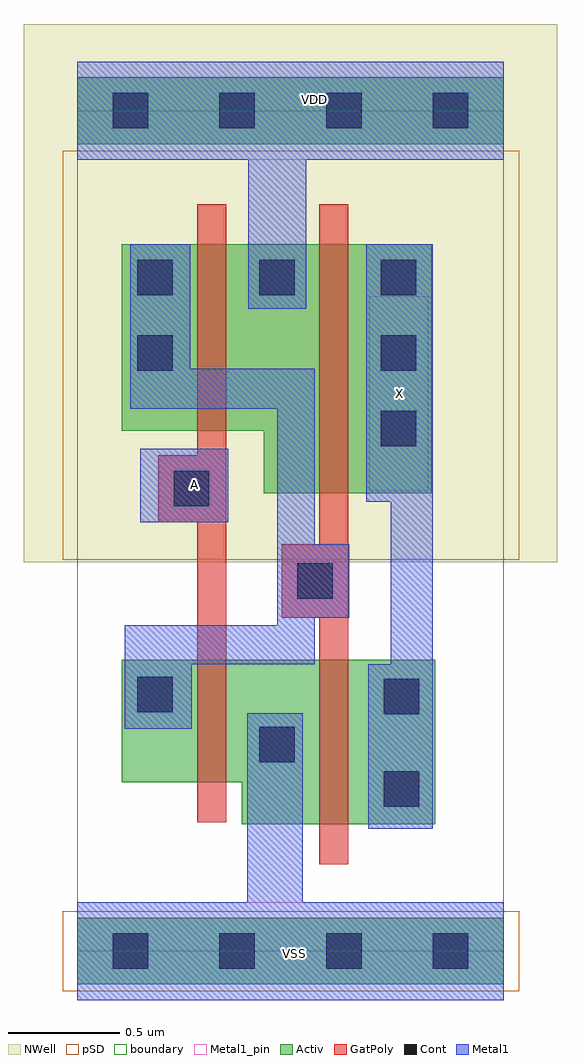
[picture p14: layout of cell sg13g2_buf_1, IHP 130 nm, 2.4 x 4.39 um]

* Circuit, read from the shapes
.subckt sg13g2_buf_1 A VDD VSS X
XM1 VSS A n1 VSS sg13_lv_nmos w=0.55u l=0.13u
XM2 X n1 VSS VSS sg13_lv_nmos w=0.74u l=0.13u
XM3 VDD A n1 VDD sg13_lv_pmos w=0.84u l=0.13u
XM4 X n1 VDD VDD sg13_lv_pmos w=1.12u l=0.13u
.ends

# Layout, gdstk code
import gdstk
lib = gdstk.Library(unit=1e-6, precision=1e-09)
def R(c, l, rs):  # rectangles x0, y0, x1, y1
    for r in rs: c.add(gdstk.rectangle(r[:2], r[2:], *l))
def P(c, l, *ps):  # polygons
    for p in ps: c.add(gdstk.Polygon(p, *l))
Activ = (1, 0)
GatPoly = (5, 0)
Cont = (6, 0)
Metal1 = (8, 0)
Metal1_pin = (8, 2)
pSD = (14, 0)
NWell = (31, 0)
boundary = (189, 4)

sg13g2_buf_1 = lib.new_cell('sg13g2_buf_1')
R(sg13g2_buf_1, Activ, [(0,-0.15,1.92,0.15), (0,-0.15,1.92,0.15), (0,3.63,1.92,3.93), (0,3.63,1.92,3.93)])
P(sg13g2_buf_1, Activ, [(0.74,0.57),(0.74,0.76),(0.2,0.76),(0.2,1.31),(1.61,1.31),(1.61,0.57)],
  [(0.84,2.06),(0.84,2.34),(0.2,2.34),(0.2,3.18),(1.595,3.18),(1.595,2.06)],
  [(0.74,0.57),(0.74,0.76),(0.2,0.76),(0.2,1.31),(1.61,1.31),(1.61,0.57)],
  [(0.84,2.06),(0.84,2.34),(0.2,2.34),(0.2,3.18),(1.595,3.18),(1.595,2.06)])
P(sg13g2_buf_1, GatPoly, [(1.09,0.39),(1.09,1.5),(0.92,1.5),(0.92,1.83),(1.09,1.83),(1.09,3.36),(1.22,3.36),(1.22,0.39)],
  [(0.54,0.58),(0.54,1.93),(0.365,1.93),(0.365,2.23),(0.54,2.23),(0.54,3.36),(0.67,3.36),(0.67,0.58)],
  [(1.09,0.39),(1.09,1.5),(0.92,1.5),(0.92,1.83),(1.09,1.83),(1.09,3.36),(1.22,3.36),(1.22,0.39)],
  [(0.54,0.58),(0.54,1.93),(0.365,1.93),(0.365,2.23),(0.54,2.23),(0.54,3.36),(0.67,3.36),(0.67,0.58)])
R(sg13g2_buf_1, Cont, [(0.16,-0.08,0.32,0.08), (0.16,-0.08,0.32,0.08), (0.64,-0.08,0.8,0.08), (0.64,-0.08,0.8,0.08), (1.12,-0.08,1.28,0.08), (1.12,-0.08,1.28,0.08), (1.6,-0.08,1.76,0.08), (1.6,-0.08,1.76,0.08), (1.38,0.65,1.54,0.81), (1.38,0.65,1.54,0.81), (0.82,0.85,0.98,1.01), (0.82,0.85,0.98,1.01), (1.38,1.065,1.54,1.225), (1.38,1.065,1.54,1.225), (0.27,1.075,0.43,1.235), (0.27,1.075,0.43,1.235), (0.99,1.585,1.15,1.745), (0.99,1.585,1.15,1.745), (0.435,2,0.595,2.16), (0.435,2,0.595,2.16), (1.365,2.27,1.525,2.43), (1.365,2.27,1.525,2.43), (0.27,2.61,0.43,2.77), (0.27,2.61,0.43,2.77), (1.365,2.61,1.525,2.77), (1.365,2.61,1.525,2.77), (0.27,2.95,0.43,3.11), (0.27,2.95,0.43,3.11), (0.82,2.95,0.98,3.11), (0.82,2.95,0.98,3.11), (1.365,2.95,1.525,3.11), (1.365,2.95,1.525,3.11), (0.16,3.7,0.32,3.86), (0.16,3.7,0.32,3.86), (0.64,3.7,0.8,3.86), (0.64,3.7,0.8,3.86), (1.12,3.7,1.28,3.86), (1.12,3.7,1.28,3.86), (1.6,3.7,1.76,3.86), (1.6,3.7,1.76,3.86)])
R(sg13g2_buf_1, Metal1, [(0.285,1.93,0.68,2.26), (0.285,1.93,0.68,2.26)])
P(sg13g2_buf_1, Metal1, [(0.215,1),(0.215,1.465),(0.9,1.465),(0.9,2.44),(0.24,2.44),(0.24,3.18),(0.51,3.18),(0.51,2.62),(1.07,2.62),(1.07,1.83),(1.225,1.83),(1.225,1.5),(1.07,1.5),(1.07,1.29),(0.515,1.29),(0.515,1)],
  [(1.31,0.55),(1.31,1.29),(1.41,1.29),(1.41,2.02),(1.3,2.02),(1.3,3.18),(1.6,3.18),(1.6,0.55)],
  [(0,-0.22),(0,0.22),(0.765,0.22),(0.765,1.07),(1.015,1.07),(1.015,0.22),(1.92,0.22),(1.92,-0.22)],
  [(0.77,2.89),(0.77,3.56),(0,3.56),(0,4),(1.92,4),(1.92,3.56),(1.03,3.56),(1.03,2.89)],
  [(0.215,1),(0.215,1.465),(0.9,1.465),(0.9,2.44),(0.24,2.44),(0.24,3.18),(0.51,3.18),(0.51,2.62),(1.07,2.62),(1.07,1.83),(1.225,1.83),(1.225,1.5),(1.07,1.5),(1.07,1.29),(0.515,1.29),(0.515,1)],
  [(1.31,0.55),(1.31,1.29),(1.41,1.29),(1.41,2.02),(1.3,2.02),(1.3,3.18),(1.6,3.18),(1.6,0.55)],
  [(0,-0.22),(0,0.22),(0.765,0.22),(0.765,1.07),(1.015,1.07),(1.015,0.22),(1.92,0.22),(1.92,-0.22)],
  [(0.77,2.89),(0.77,3.56),(0,3.56),(0,4),(1.92,4),(1.92,3.56),(1.03,3.56),(1.03,2.89)])
R(sg13g2_buf_1, Metal1_pin, [(0,-0.22,1.92,0.22), (0,-0.22,1.92,0.22), (0.285,1.93,0.68,2.26), (0.285,1.93,0.68,2.26), (1.315,2.07,1.58,2.945), (1.315,2.07,1.58,2.945), (1.315,2.07,1.58,2.945), (1.315,2.07,1.58,2.945), (0,3.56,1.92,4), (0,3.56,1.92,4)])
R(sg13g2_buf_1, pSD, [(-0.065,-0.18,1.99,0.18), (-0.065,-0.18,1.99,0.18), (-0.065,1.76,1.99,3.6), (-0.065,1.76,1.99,3.6)])
R(sg13g2_buf_1, NWell, [(-0.24,1.75,2.16,4.17), (-0.24,1.75,2.16,4.17)])
R(sg13g2_buf_1, boundary, [(0,0,1.92,3.78), (0,0,1.92,3.78)])
sg13g2_buf_1.add(gdstk.Label('X', (1.45,2.51), layer=8, texttype=25))
sg13g2_buf_1.add(gdstk.Label('A', (0.53,2.1), layer=8, texttype=25))
sg13g2_buf_1.add(gdstk.Label('VSS', (0.98,-0.01), layer=8, texttype=25))
sg13g2_buf_1.add(gdstk.Label('VDD', (1.07,3.83), layer=8, texttype=25))
sg13g2_buf_1.add(gdstk.Label('X', (1.45,2.51), layer=8, texttype=25))
sg13g2_buf_1.add(gdstk.Label('A', (0.53,2.1), layer=8, texttype=25))
sg13g2_buf_1.add(gdstk.Label('VSS', (0.98,-0.01), layer=8, texttype=25))
sg13g2_buf_1.add(gdstk.Label('VDD', (1.07,3.83), layer=8, texttype=25))

lib.write_gds('sg13g2_buf_1.gds')
